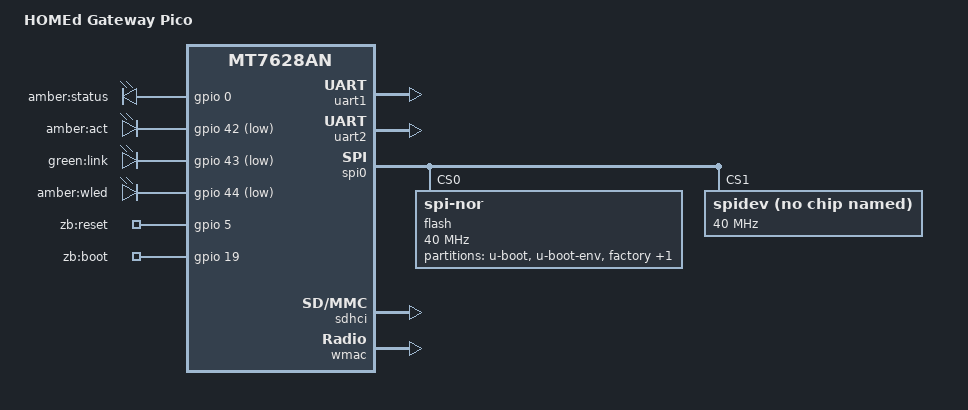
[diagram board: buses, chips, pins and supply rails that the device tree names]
#include "mt7628an.dtsi"

#include <dt-bindings/gpio/gpio.h>
#include <dt-bindings/input/input.h>

/ {
	compatible = "homed,gateway-pico", "mediatek,mt7628an-soc";
	model = "HOMEd Gateway Pico";

	aliases {
		led-boot = &led_status;
		led-failsafe = &led_status;
		led-upgrade = &led_status;
	};

	leds {
		compatible = "gpio-leds";

		led_status: status {
			label = "amber:status";
			gpios = <&gpio 0 GPIO_ACTIVE_HIGH>;
		};

		led_speed: speed {
			label = "amber:act";
			gpios = <&gpio 42 GPIO_ACTIVE_LOW>;
		};

		led_link: link {
			label = "green:link";
			gpios = <&gpio 43 GPIO_ACTIVE_LOW>;
		};

		led_wled: wled {
			label = "amber:wled";
			gpios = <&gpio 44 GPIO_ACTIVE_LOW>;
			linux,default-trigger = "heartbeat";
		};
	};

	gpio-export {
		compatible = "gpio-export";

		reset {
			gpio-export,name = "zb:reset";
			gpio-export,output = <1>;
			gpios = <&gpio 5 GPIO_ACTIVE_HIGH>;
		};

		boot {
			gpio-export,name = "zb:boot";
			gpio-export,output = <1>;
			gpios = <&gpio 19 GPIO_ACTIVE_HIGH>;
		};
	};
};

&state_default {
	gpio {
		groups = "i2c", "p0led_an", "p1led_an", "wdt", "wled_an";
		function = "gpio";
	};
};

&uart1 {
	status = "okay";
};

&uart2 {
	status = "okay";
};

&spi0 {
	status = "okay";

	pinctrl-names = "default";
	pinctrl-0 = <&spi_pins>, <&spi_cs1_pins>;

	flash@0 {
		compatible = "jedec,spi-nor";
		reg = <0>;
		spi-max-frequency = <40000000>;
		broken-flash-reset;

		partitions {
			compatible = "fixed-partitions";
			#address-cells = <1>;
			#size-cells = <1>;

			partition@0 {
				label = "u-boot";
				reg = <0x0 0x30000>;
				read-only;
			};

			partition@30000 {
				label = "u-boot-env";
				reg = <0x30000 0x10000>;
				read-only;
			};

			factory: partition@40000 {
				label = "factory";
				reg = <0x40000 0x10000>;
				read-only;
			};

			partition@50000 {
				compatible = "denx,uimage";
				label = "firmware";
				reg = <0x50000 0x1fb0000>;
			};
		};
	};

	spidev@1 {
		#address-cells = <1>;
		#size-cells = <1>;
		compatible = "linux,spidev";
		reg = <1>;
		spi-max-frequency = <40000000>;
	};
};

&ethernet {
	nvmem-cells = <&macaddr_factory_28>;
	nvmem-cell-names = "mac-address";
};

&esw {
	mediatek,portmap = <0x3e>;
};

&sdhci {
	status = "okay";
};

&wmac {
	status = "okay";
	mediatek,mtd-eeprom = <&factory 0x0>;
};

&factory {
	compatible = "nvmem-cells";
	#address-cells = <1>;
	#size-cells = <1>;

	macaddr_factory_28: macaddr@28 {
		reg = <0x28 0x6>;
	};
};
